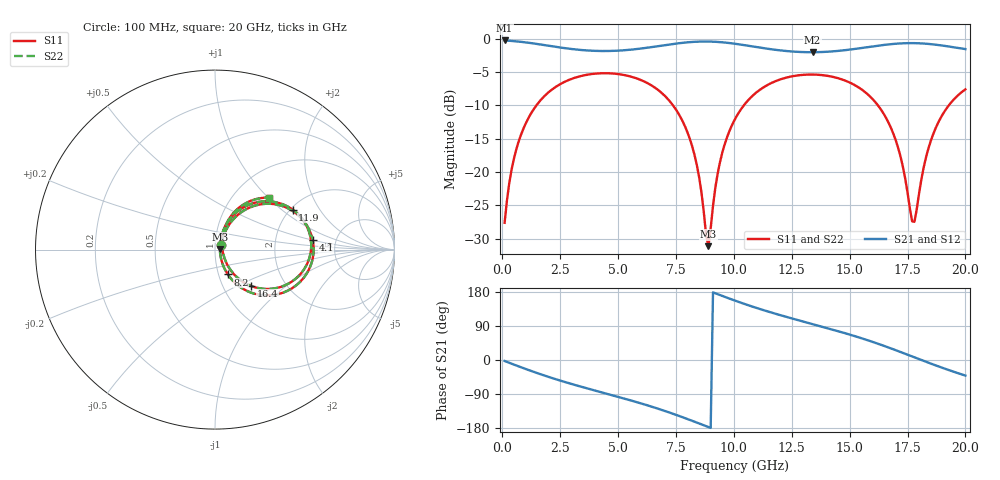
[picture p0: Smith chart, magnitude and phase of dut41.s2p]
! Touchstone file exported from HFSS 2026.1.0
!  File:  C:/ffzhzh/LocalFiles/Ansys_Project_Files/temp_train_TSV_RDL_41_1782965662_15332.aedt
!  Generated:  12:30:03 PM Jul  2, 2026
!  Design:  TSV_RDL
!  Project:  temp_train_TSV_RDL_41_1782965662_15332
! Variables:
!  h_bsmrdl = 3.66um
!  h_ox = 20um
!  h_rdl = 5um
!  h_sub = 64.03um
!  h_tmrdl = 2.69um
!  h_tsv = 64.03um
!  h_via = 3um
!  l_bsmrdl = 891.41um
!  l_sub = 6927.27um
!  l_tmrdl = 924.65um
!  m_sub = 200um
!  pitch = 53.49um
!  r_tsv = 4.66um
!  s_tmrdl = 10um
!  w_bsmrdl = 28.35um
!  w_sub = 500um
!  w_tmrdl = 23.13um
!  x_tsv_center1 = 936.215um
!  x_tsv_center2 = 1855.975um
!  x_tsv_center3 = 2803.755um
!  x_tsv_center4 = 3723.515um
!  x_tsv_center5 = 4671.295um
!  x_tsv_center6 = 5591.055um
# GHz S MA R 50.000000
! Terminal data exported
! Port[1] = TM_RDL1_1_T1
! Port[2] = TM_RDL5_1_T1
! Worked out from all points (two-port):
!   200 points, 100 MHz to 20 GHz, reference 50 ohm
!   highest |S21| = -0.29 dB at 100 MHz (marker M1); lowest = -2.1 dB at 13.4 GHz (marker M2)
!   |S21| within 3 dB of the highest: start of sweep to end of sweep
!   lowest |S11| = -31.1 dB at 8.9 GHz (marker M3), VSWR 1.06, Z = 52.8 + j0.391 ohm
!   |S11| at or under -10 dB: start of sweep to 1.48 GHz; 7.367 GHz to 10.44 GHz (3.071 GHz wide, 34.5 % of centre); 16.22 GHz to 19.29 GHz (3.072 GHz wide, 17.3 % of centre)
!   |S22| runs from -31.3 to -5.2 dB; largest |S21 - S12| = 1.6e-14
!   S11 on the Smith chart (normalised r, x): 100 MHz: 1.07, +0.05; 4.1 GHz: 3.33, +0.50; 8.2 GHz: 1.11, -0.31; 11.9 GHz: 2.05, +1.20; 16.4 GHz: 1.35, -0.60; 20 GHz: 1.44, +1.01
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0.1  0.04157 35.7  0.967 -2.5  0.967 -2.5  0.04157 35.7
! Gamma 0 0 0 0
! Port Impedance 50 0 50 0
0.5  0.1252 60.7  0.9556 -12.1  0.9556 -12.1  0.1252 60.7
1.1  0.2478 55.4  0.9311 -25.7  0.9311 -25.7  0.2478 55.4
2.1  0.4086 38.5  0.8772 -46.6  0.8772 -46.6  0.4087 38.5
3.5  0.5284 15.0  0.8177 -72.1  0.8177 -72.1  0.5284 15.0
4.1  0.5468 5.5  0.8072 -82.2  0.8072 -82.2  0.5469 5.5
6.8  0.4021 -39.3  0.8801 -130.0  0.8801 -130.0  0.4022 -39.3
8.2  0.1557 -62.5  0.9423 -160.4  0.9423 -160.4  0.1557 -62.8
8.5  0.09164 -62.0  0.9481 -167.4  0.9481 -167.4  0.09153 -62.4
8.9  0.02777 7.6  0.9493 -176.9  0.9493 -176.9  0.0271 7.6
9.4  0.1181 66.4  0.94 171.4  0.94 171.4  0.1179 66.7
10.1  0.2579 58.4  0.9109 155.6  0.9109 155.6  0.2578 58.6
11.9  0.4864 27.3  0.8187 120.2  0.8187 120.2  0.4863 27.4
13.4  0.537 3.6  0.7894 94.8  0.7894 94.8  0.5369 3.7
15.1  0.4592 -23.4  0.8297 65.3  0.8297 65.3  0.4592 -23.4
16.4  0.2853 -45.3  0.8916 39.2  0.8916 39.2  0.2854 -45.1
16.7  0.2303 -49.6  0.9041 32.5  0.9041 32.5  0.2304 -49.4
17.2  0.13 -52.5  0.919 21.1  0.919 21.1  0.1302 -52.1
17.8  0.04228 20.2  0.9233 7.0  0.9233 7.0  0.04318 19.9
18.2  0.1083 64.4  0.9169 -2.4  0.9169 -2.4  0.1086 64.0
18.6  0.19 65.4  0.9039 -11.6  0.9039 -11.6  0.1902 65.1
20  0.4158 44.1  0.8331 -41.1  0.8331 -41.1  0.4158 44.0
